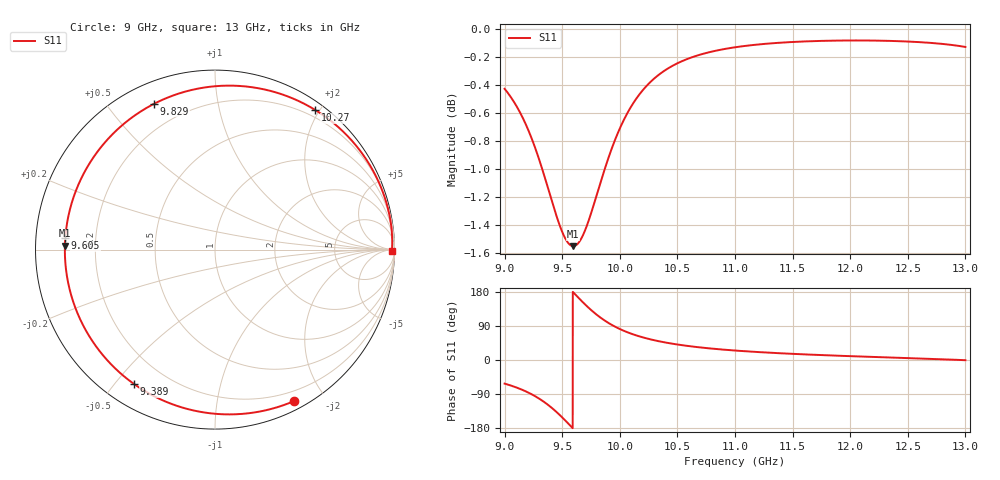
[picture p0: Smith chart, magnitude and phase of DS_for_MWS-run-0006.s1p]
! TOUCHSTONE file generated by CST DESIGN STUDIO
! Date and time: Tue Feb  4 17:04:23 2025
! Project name: C:\Work\MatlabApps\UnitCellOptimizationMatlab\CST\unitcell.cst
! Tree item: Tasks\Sweep1\SPara1\S-Parameters
! Header version: 2024
! Port assignment regex: !\s*Touchstone port\s*([0-9]+)\s*=\s*(CST MWS port|CST DES external port|CST DES block port)\s*(.+)\s* \(\"(.*)\"\)(\s*mode\s*([0-9]+))?.*
! Touchstone port assignment:
! Touchstone port 1 = CST DES external port 1 ("")
# GHz S MA R 50
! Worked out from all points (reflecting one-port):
!   4001 points, 9 GHz to 13 GHz, reference 50 ohm
!   lowest |S11| = -1.6 dB at 9.596 GHz (marker M1), VSWR 11.24, Z = 4.45 + j0.646 ohm
!   phase of S11 starts at -62 deg and turns -298 deg over the sweep
!   S11 on the Smith chart (normalised r, x): 9 GHz: 0.09, -1.65; 9.389 GHz: 0.09, -0.56; 9.605 GHz: 0.09, +0.04; 9.829 GHz: 0.09, +0.66; 10.27 GHz: 0.10, +1.95; 13 GHz: open
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9  0.9521 -62.3
9.048  0.9464 -66.8
9.117  0.9365 -74.2
9.236  0.9138 -90.7
9.317  0.8939 -105.3
9.389  0.8741 -121.2
9.444  0.8592 -135.4
9.5  0.8464 -151.4
9.549  0.839 -166.5
9.596  0.8366 178.5
9.605  0.8366 175.6
9.661  0.8411 158.0
9.724  0.853 139.3
9.776  0.8661 125.3
9.829  0.8805 112.6
9.907  0.9009 96.8
10  0.9215 81.8
10.062  0.9327 73.7
10.127  0.9423 66.5
10.269  0.9577 54.3
10.377  0.9657 47.2
10.5  0.9723 40.9
10.72  0.9798 32.5
11  0.9852 25.0
11.5  0.9895 16.2
12  0.9907 10.1
12.5  0.9898 5.0
13  0.9854 -0.5
